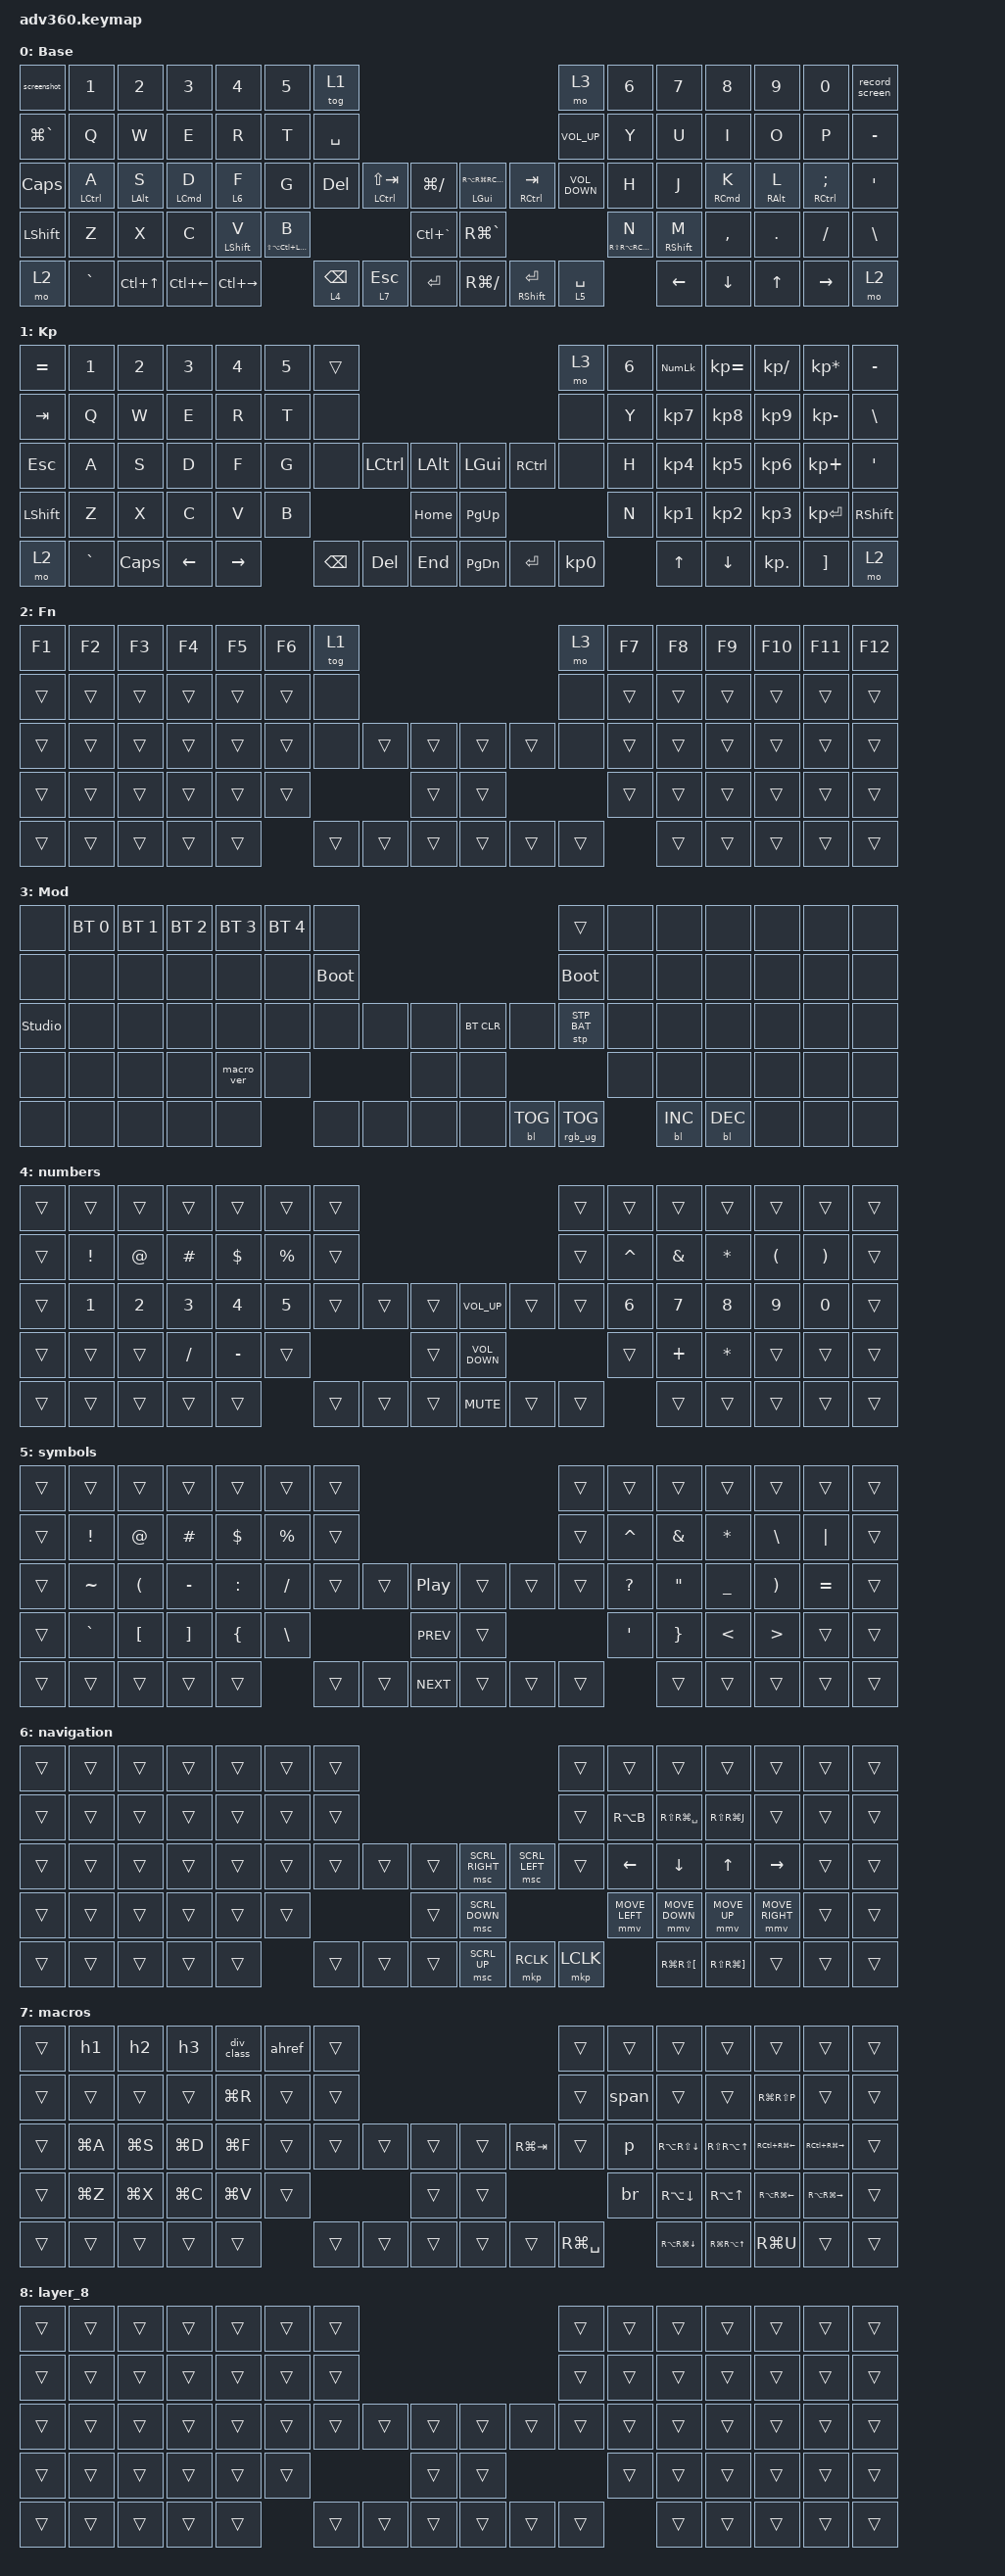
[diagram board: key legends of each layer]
#include <dt-bindings/zmk/stp.h>
#include <behaviors.dtsi>
#include <dt-bindings/zmk/backlight.h>
#include <dt-bindings/zmk/bt.h>
#include <dt-bindings/zmk/keys.h>
#include <dt-bindings/zmk/pointing.h>
#include <dt-bindings/zmk/rgb.h>

/ {
    behaviors {
        #include "macros.dtsi"
      #include "version.dtsi"

        hm: homerow_mods {
            compatible = "zmk,behavior-hold-tap";
            label = "HOMEROW_MODS";
            #binding-cells = <2>;
            tapping-term-ms = <200>;
            quick_tap_ms = <175>;
            flavor = "tap-preferred";
            bindings = <&kp>, <&kp>;
        };

        modtap: mt {
            compatible = "zmk,behavior-hold-tap";
            label = "modtap";
            bindings = <&kp>, <&kp>;

            #binding-cells = <2>;
            tapping-term-ms = <180>;
            require-prior-idle-ms = <125>;
            flavor = "tap-preferred";
        };

        hrm_pinky: hrm_pinky {
            compatible = "zmk,behavior-hold-tap";
            label = "HRM_PINKY";
            bindings = <&kp>, <&kp>;

            #binding-cells = <2>;
            tapping-term-ms = <260>;
            quick-tap-ms = <300>;
            require-prior-idle-ms = <150>;
            flavor = "tap-preferred";
        };

        hrm_ring: hrm_ring {
            compatible = "zmk,behavior-hold-tap";
            label = "HRM_RING";
            bindings = <&kp>, <&kp>;

            #binding-cells = <2>;
            hold-trigger-on-release;
            hold-trigger-key-positions = <0 1 2 3 4 5 6 7 8 9 10 11 12 13 14 15 16 17 18 19 20 21 22 23 24 25 26 27 28 29 30 31 32 33 34 35 36 37 38 39 40 41 42 43 44 45 46 47 48 49 50 51 52 53 54 55 56 57 58 59 60 61 62 63 64 65 66 67 68 69 70 71 72 73 74 75>;
            tapping-term-ms = <240>;
            quick-tap-ms = <300>;
            require-prior-idle-ms = <150>;
            flavor = "tap-preferred";
        };
    };

    combos {
        compatible = "zmk,combos";

        capslock {
            bindings = <&kp CAPS>;
            key-positions = <46 59>;
        };
    };

    macros {
        h1: h1 {
            compatible = "zmk,behavior-macro";
            #binding-cells = <0>;
            bindings = <&kp LT &kp H &kp N1 &kp GT &kp LT &kp FSLH &kp H &kp N1 &kp GT &kp LEFT &kp LEFT &kp LEFT &kp LEFT &kp LEFT>;
            label = "H1";
        };

        h2: h2 {
            compatible = "zmk,behavior-macro";
            #binding-cells = <0>;
            bindings = <&kp LT &kp H &kp NUMBER_2 &kp GT &kp LT &kp FSLH &kp H &kp NUMBER_2 &kp GT &kp LEFT &kp LEFT &kp LEFT &kp LEFT &kp LEFT>;
            label = "H2";
        };

        h3: h3 {
            compatible = "zmk,behavior-macro";
            #binding-cells = <0>;
            bindings = <&kp LT &kp H &kp NUMBER_3 &kp GT &kp LT &kp FSLH &kp H &kp NUMBER_3 &kp GT &kp LEFT &kp LEFT &kp LEFT &kp LEFT &kp LEFT>;
            label = "H3";
        };

        div_class: div_class {
            compatible = "zmk,behavior-macro";
            #binding-cells = <0>;
            bindings = <&kp LT &kp D &kp I &kp V &kp SPACE &kp C &kp L &kp A &kp S &kp S &kp EQUAL &kp DOUBLE_QUOTES &kp DOUBLE_QUOTES &kp GT &kp LT &kp FSLH &kp D &kp I &kp V &kp GT &kp LEFT &kp LEFT &kp LEFT &kp LEFT &kp LEFT &kp LEFT>;
            label = "DIV_CLASS";
        };

        class: class {
            compatible = "zmk,behavior-macro";
            #binding-cells = <0>;
            bindings = <&kp C &kp L &kp A &kp S &kp S &kp EQUAL &kp DOUBLE_QUOTES &kp DOUBLE_QUOTES>;
            label = "CLASS";
        };

        ahref: ahref {
            compatible = "zmk,behavior-macro";
            #binding-cells = <0>;
            bindings = <&kp LESS_THAN &kp A &kp SPACE &kp H &kp R &kp E &kp F &kp EQUAL &kp DOUBLE_QUOTES &kp DOUBLE_QUOTES &kp SPACE &kp C &kp L &kp A &kp S &kp S &kp EQUAL &kp DOUBLE_QUOTES &kp DOUBLE_QUOTES &kp GREATER_THAN &kp LESS_THAN &kp SLASH &kp A &kp GREATER_THAN &kp LEFT &kp LEFT &kp LEFT &kp LEFT>;
            label = "AHREF";
        };

        p: p {
            compatible = "zmk,behavior-macro";
            #binding-cells = <0>;
            bindings = <&kp LESS_THAN &kp P &kp GREATER_THAN &kp LESS_THAN &kp SLASH &kp P &kp GREATER_THAN &kp LEFT &kp LEFT &kp LEFT &kp LEFT>;
            label = "P";
        };

        br: br {
            compatible = "zmk,behavior-macro";
            #binding-cells = <0>;
            bindings = <&kp LESS_THAN &kp B &kp R &kp SLASH &kp GREATER_THAN>;
            label = "BR";
        };

        span: span {
            compatible = "zmk,behavior-macro";
            #binding-cells = <0>;
            bindings = <&kp LESS_THAN &kp S &kp P &kp A &kp N &kp GREATER_THAN &kp LESS_THAN &kp SLASH &kp S &kp P &kp A &kp N &kp GREATER_THAN &kp LEFT &kp LEFT &kp LEFT &kp LEFT &kp LEFT &kp LEFT &kp LEFT>;
            label = "SPAN";
        };

        hyper: hyper {
            compatible = "zmk,behavior-macro-one-param";
            #binding-cells = <1>;
            bindings =
                <&macro_press>,
                <&kp LEFT_SHIFT &kp LEFT_ALT &kp LEFT_CONTROL &kp LEFT_COMMAND>,
                <&macro_tap>,
                <&macro_param_1to1 &kp MACRO_PLACEHOLDER>,
                <&macro_release>,
                <&kp LEFT_SHIFT &kp LEFT_ALT &kp LEFT_CONTROL &kp LEFT_COMMAND>;

            label = "HYPER";
        };

        meh: meh {
            compatible = "zmk,behavior-macro-one-param";
            #binding-cells = <1>;
            bindings =
                <&macro_press>,
                <&kp LEFT_SHIFT &kp LEFT_ALT &kp LEFT_CONTROL>,
                <&macro_tap>,
                <&macro_param_1to1 &kp MACRO_PLACEHOLDER>,
                <&macro_release>,
                <&kp LEFT_SHIFT &kp LEFT_ALT &kp LEFT_CONTROL>;

            label = "MEH";
        };

        record_screen: record_screen {
            compatible = "zmk,behavior-macro";
            #binding-cells = <0>;
            bindings =
                <&macro_press>,
                <&kp LEFT_COMMAND &kp LEFT_ALT &kp LEFT_CONTROL>,
                <&macro_tap>,
                <&kp R>,
                <&macro_release>,
                <&kp LEFT_COMMAND &kp LEFT_ALT &kp LEFT_CONTROL>;

            label = "RECORD_SCREEN";
        };

        screenshot: screenshot {
            compatible = "zmk,behavior-macro";
            #binding-cells = <0>;
            bindings =
                <&macro_press>,
                <&kp LEFT_COMMAND &kp LEFT_ALT &kp LEFT_SHIFT>,
                <&macro_tap>,
                <&kp C>,
                <&macro_release>,
                <&kp LEFT_COMMAND &kp LEFT_ALT &kp LEFT_SHIFT>;

            label = "SCREENSHOT";
        };
    };

    keymap {
        compatible = "zmk,keymap";

        default_layer {
            display-name = "Base";
            bindings = <
&screenshot    &kp N1                     &kp N2                &kp N3                  &kp N4                &kp N5                              &tog 1                                                                                                       &mo 3              &kp N6                               &kp N7                 &kp N8                   &kp N9                 &kp N0                              &record_screen
&kp LG(GRAVE)  &kp Q                      &kp W                 &kp E                   &kp R                 &kp T                               &kp SPACE                                                                                                    &kp C_VOLUME_UP    &kp Y                                &kp U                  &kp I                    &kp O                  &kp P                               &kp MINUS
&kp CAPSLOCK   &hrm_pinky LEFT_CONTROL A  &hrm_ring LEFT_ALT S  &modtap LEFT_COMMAND D  &lt 6 F               &kp G                               &kp DELETE       &modtap LCTRL LS(TAB)  &kp LG(SLASH)      &modtap LGUI RA(RG(RC(V)))  &modtap RCTRL TAB     &kp C_VOLUME_DOWN  &kp H                                &kp J                  &modtap RIGHT_COMMAND K  &hrm_ring RIGHT_ALT L  &hrm_pinky RIGHT_CONTROL SEMICOLON  &kp SQT
&kp LSHFT      &kp Z                      &kp X                 &kp C                   &modtap LEFT_SHIFT V  &modtap LS(LA(LC(LEFT_COMMAND))) B                                          &kp LC(GRAVE)      &kp RG(GRAVE)                                                        &modtap RS(RA(RC(RIGHT_COMMAND))) N  &modtap RIGHT_SHIFT M  &kp COMMA                &kp DOT                &kp FSLH                            &kp BACKSLASH
&mo 2          &kp GRAVE                  &kp LC(UP)            &kp LC(LEFT)            &kp LC(RIGHT)                                             &lt 4 BACKSPACE  &lt 7 ESC              &kp ENTER          &kp RG(SLASH)               &modtap RSHIFT ENTER  &lt 5 SPACE                                             &kp LEFT               &kp DOWN                 &kp UP_ARROW           &kp RIGHT                           &mo 2
            >;
        };

        keypad {
            display-name = "Kp";
            bindings = <
&kp EQUAL  &kp N1     &kp N2    &kp N3    &kp N4     &kp N5  &trans                                                   &mo 3      &kp N6  &kp KP_NUM  &kp KP_EQUAL  &kp KP_DIVIDE  &kp KP_MULTIPLY  &kp MINUS
&kp TAB    &kp Q      &kp W     &kp E     &kp R      &kp T   &none                                                    &none      &kp Y   &kp KP_N7   &kp KP_N8     &kp KP_N9      &kp KP_MINUS     &kp BSLH
&kp ESC    &kp A      &kp S     &kp D     &kp F      &kp G   &none     &kp LCTRL  &kp LALT      &kp LGUI   &kp RCTRL  &none      &kp H   &kp KP_N4   &kp KP_N5     &kp KP_N6      &kp KP_PLUS      &kp SQT
&kp LSHFT  &kp Z      &kp X     &kp C     &kp V      &kp B                        &kp HOME      &kp PG_UP                        &kp N   &kp KP_N1   &kp KP_N2     &kp KP_N3      &kp KP_ENTER     &kp RSHFT
&mo 2      &kp GRAVE  &kp CAPS  &kp LEFT  &kp RIGHT          &kp BSPC  &kp DEL    &kp END       &kp PG_DN  &kp ENTER  &kp KP_N0          &kp UP      &kp DOWN      &kp KP_DOT     &kp RBKT         &mo 2
            >;
        };

        fn {
            display-name = "Fn";
            bindings = <
&kp F1  &kp F2  &kp F3  &kp F4  &kp F5  &kp F6  &tog 1                                      &mo 3   &kp F7  &kp F8  &kp F9  &kp F10  &kp F11  &kp F12
&trans  &trans  &trans  &trans  &trans  &trans  &none                                       &none   &trans  &trans  &trans  &trans   &trans   &trans
&trans  &trans  &trans  &trans  &trans  &trans  &none   &trans  &trans      &trans  &trans  &none   &trans  &trans  &trans  &trans   &trans   &trans
&trans  &trans  &trans  &trans  &trans  &trans                  &trans      &trans                  &trans  &trans  &trans  &trans   &trans   &trans
&trans  &trans  &trans  &trans  &trans          &trans  &trans  &trans      &trans  &trans  &trans          &trans  &trans  &trans   &trans   &trans
            >;
        };

        mod {
            display-name = "Mod";
            bindings = <
&none           &bt BT_SEL 0  &bt BT_SEL 1  &bt BT_SEL 2  &bt BT_SEL 3  &bt BT_SEL 4  &none                                                  &trans           &none  &none       &none       &none  &none  &none
&none           &none         &none         &none         &none         &none         &bootloader                                            &bootloader      &none  &none       &none       &none  &none  &none
&studio_unlock  &none         &none         &none         &none         &none         &none        &none  &none      &bt BT_CLR  &none       &stp STP_BAT     &none  &none       &none       &none  &none  &none
&none           &none         &none         &none         &macro_ver    &none                             &none      &none                                    &none  &none       &none       &none  &none  &none
&none           &none         &none         &none         &none                       &none        &none  &none      &none       &bl BL_TOG  &rgb_ug RGB_TOG         &bl BL_INC  &bl BL_DEC  &none  &none  &none
            >;
        };

        numbers {
            bindings = <
&trans  &trans        &trans        &trans        &trans        &trans       &trans                                                 &trans  &trans        &trans         &trans        &trans                &trans                 &trans
&trans  &kp EXCL      &kp AT_SIGN   &kp HASH      &kp DOLLAR    &kp PERCENT  &trans                                                 &trans  &kp CARET     &kp AMPERSAND  &kp ASTERISK  &kp LEFT_PARENTHESIS  &kp RIGHT_PARENTHESIS  &trans
&trans  &kp NUMBER_1  &kp NUMBER_2  &kp NUMBER_3  &kp NUMBER_4  &kp N5       &trans  &trans  &trans      &kp C_VOLUME_UP    &trans  &trans  &kp NUMBER_6  &kp NUMBER_7   &kp NUMBER_8  &kp NUMBER_9          &kp NUMBER_0           &trans
&trans  &trans        &trans        &kp SLASH     &kp MINUS     &trans                       &trans      &kp C_VOLUME_DOWN                  &trans        &kp PLUS       &kp ASTERISK  &trans                &trans                 &trans
&trans  &trans        &trans        &trans        &trans                     &trans  &trans  &trans      &kp C_MUTE         &trans  &trans                &trans         &trans        &trans                &trans                 &trans
            >;
        };

        symbols {
            bindings = <
&trans  &trans           &trans                &trans             &trans          &trans         &trans                                                &trans  &trans            &trans             &trans          &trans                 &trans     &trans
&trans  &kp EXCLAMATION  &kp AT_SIGN           &kp HASH           &kp DOLLAR      &kp PERCENT    &trans                                                &trans  &kp CARET         &kp AMPERSAND      &kp ASTERISK    &kp BACKSLASH          &kp PIPE   &trans
&trans  &kp TILDE        &kp LEFT_PARENTHESIS  &kp MINUS          &kp COLON       &kp SLASH      &trans  &trans  &kp C_PLAY_PAUSE      &trans  &trans  &trans  &kp QUESTION      &kp DOUBLE_QUOTES  &kp UNDERSCORE  &kp RIGHT_PARENTHESIS  &kp EQUAL  &trans
&trans  &kp GRAVE        &kp LEFT_BRACKET      &kp RIGHT_BRACKET  &kp LEFT_BRACE  &kp BACKSLASH                  &kp C_PREV            &trans                  &kp SINGLE_QUOTE  &kp RIGHT_BRACE    &kp LESS_THAN   &kp GREATER_THAN       &trans     &trans
&trans  &trans           &trans                &trans             &trans                         &trans  &trans  &kp C_NEXT            &trans  &trans  &trans                    &trans             &trans          &trans                 &trans     &trans
            >;
        };

        navigation {
            bindings = <
&trans  &trans  &trans  &trans  &trans  &trans  &trans                                                       &trans     &trans          &trans                    &trans                     &trans           &trans  &trans
&trans  &trans  &trans  &trans  &trans  &trans  &trans                                                       &trans     &kp RA(B)       &kp RS(RG(SPACE))         &kp RS(RG(J))              &trans           &trans  &trans
&trans  &trans  &trans  &trans  &trans  &trans  &trans  &trans  &trans      &msc SCRL_RIGHT  &msc SCRL_LEFT  &trans     &kp LEFT        &kp DOWN                  &kp UP                     &kp RIGHT        &trans  &trans
&trans  &trans  &trans  &trans  &trans  &trans                  &trans      &msc SCRL_DOWN                              &mmv MOVE_LEFT  &mmv MOVE_DOWN            &mmv MOVE_UP               &mmv MOVE_RIGHT  &trans  &trans
&trans  &trans  &trans  &trans  &trans          &trans  &trans  &trans      &msc SCRL_UP     &mkp RCLK       &mkp LCLK                  &kp RG(RS(LEFT_BRACKET))  &kp RS(RG(RIGHT_BRACKET))  &trans           &trans  &trans
            >;
        };

        macros {
            bindings = <
&trans  &h1        &h2        &h3        &div_class  &ahref  &trans                                           &trans         &trans  &trans            &trans                &trans            &trans             &trans
&trans  &trans     &trans     &trans     &kp LG(R)   &trans  &trans                                           &trans         &span   &trans            &trans                &kp RG(RS(P))     &trans             &trans
&trans  &kp LG(A)  &kp LG(S)  &kp LG(D)  &kp LG(F)   &trans  &trans  &trans  &trans      &trans  &kp RG(TAB)  &trans         &p      &kp RA(RS(DOWN))  &kp RS(RA(UP_ARROW))  &kp RC(RG(LEFT))  &kp RC(RG(RIGHT))  &trans
&trans  &kp LG(Z)  &kp LG(X)  &kp LG(C)  &kp LG(V)   &trans                  &trans      &trans                              &br     &kp RA(DOWN)      &kp RA(UP_ARROW)      &kp RA(RG(LEFT))  &kp RA(RG(RIGHT))  &trans
&trans  &trans     &trans     &trans     &trans              &trans  &trans  &trans      &trans  &trans       &kp RG(SPACE)          &kp RA(RG(DOWN))  &kp RG(RA(UP_ARROW))  &kp RG(U)         &trans             &trans
            >;
        };

        layer_8 {
            bindings = <
&trans  &trans  &trans  &trans  &trans  &trans  &trans                                      &trans  &trans  &trans  &trans  &trans  &trans  &trans
&trans  &trans  &trans  &trans  &trans  &trans  &trans                                      &trans  &trans  &trans  &trans  &trans  &trans  &trans
&trans  &trans  &trans  &trans  &trans  &trans  &trans  &trans  &trans      &trans  &trans  &trans  &trans  &trans  &trans  &trans  &trans  &trans
&trans  &trans  &trans  &trans  &trans  &trans                  &trans      &trans                  &trans  &trans  &trans  &trans  &trans  &trans
&trans  &trans  &trans  &trans  &trans          &trans  &trans  &trans      &trans  &trans  &trans          &trans  &trans  &trans  &trans  &trans
            >;
        };
    };
};
